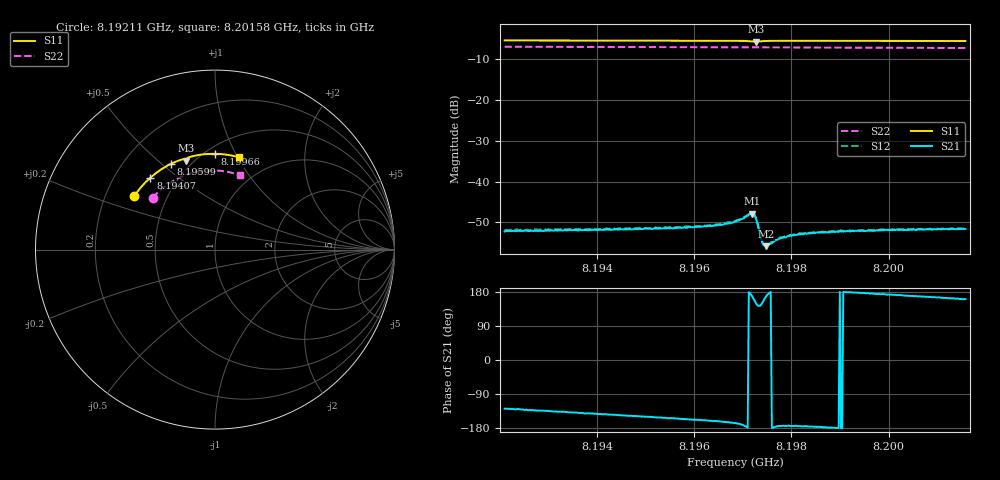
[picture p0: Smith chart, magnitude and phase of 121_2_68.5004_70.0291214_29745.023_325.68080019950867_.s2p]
#  HZ  S  RI  R  50.00
! Rohde & Schwarz Vector Network Analyzer
! Rohde-Schwarz,ZNB20-2Port,1311601062101988,3.16
! Created: UTC 3/20/2024, 4:53:58 PM
! freq[Hz]  re:S11  im:S11  re:S21  im:S21  re:S12  im:S12  re:S22  im:S22
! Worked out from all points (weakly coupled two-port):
!   401 points, 8.19211 GHz to 8.20158 GHz, reference 50 ohm
!   highest |S21| = -47.87 dB at 8.1972 GHz (marker M1); lowest = -55.8 dB at 8.19748 GHz (marker M2)
!   lowest |S11| = -5.7 dB at 8.19727 GHz (marker M3), VSWR 3.18, Z = 22.9 + j31.1 ohm
!   |S11| at or under -10 dB: nowhere
!   |S22| runs from -7.2 to -6.9 dB; largest |S21 - S12| = 0.00021
!   S11 on the Smith chart (normalised r, x): 8.19211 GHz: 0.32, +0.27; 8.19407 GHz: 0.35, +0.40; 8.19599 GHz: 0.40, +0.53; 8.19966 GHz: 0.56, +0.83; 8.20158 GHz: 0.71, +1.01
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8.192105e9  -0.4508 0.2972  -0.00152 -0.00191  -0.0016 -0.00196  -0.3475 0.2889
8.193692e9  -0.3793 0.3829  -0.00194 -0.00165  -0.00204 -0.00163  -0.2833 0.3492
8.194071e9  -0.3596 0.401  -0.00204 -0.00157  -0.00214 -0.00151  -0.2663 0.3617
8.195279e9  -0.2914 0.452  -0.00233 -0.00127  -0.00245 -0.00119  -0.2083 0.3961
8.19599e9  -0.2473 0.4768  -0.00255 -0.00104  -0.00266 -0.000973  -0.1719 0.4119
8.196558e9  -0.2098 0.4934  -0.0028 -0.000875  -0.00292 -0.000778  -0.1418 0.4223
8.196843e9  -0.1896 0.5005  -0.00315 -0.000752  -0.00322 -0.000645  -0.1263 0.4267
8.196985e9  -0.1784 0.5031  -0.00342 -0.000575  -0.00352 -0.000403  -0.1185 0.4286
8.197151e9  -0.1638 0.5023  -0.00398 0.00027  -0.00406 0.000436  -0.1094 0.4305
8.197198e9  -0.1607 0.4997  -0.00395 0.000865  -0.00399 0.00107  -0.107 0.431
8.197245e9  -0.1601 0.4967  -0.00356 0.00153  -0.00351 0.00171  -0.1043 0.4316
8.197269e9  -0.1609 0.4958  -0.00312 0.00175  -0.00309 0.00191  -0.1031 0.4317
8.197387e9  -0.1623 0.5025  -0.00162 0.00103  -0.00162 0.00108  -0.0968 0.4333
8.197435e9  -0.1598 0.5061  -0.00154 0.000611  -0.00152 0.000699  -0.0942 0.4338
8.197482e9  -0.1564 0.5087  -0.00158 0.000348  -0.00163 0.000405  -0.0915 0.4343
8.197719e9  -0.1384 0.5167  -0.00193 -0.000179  -0.00197 -6.93e-05  -0.0783 0.4365
8.197956e9  -0.121 0.5213  -0.00215 -0.000254  -0.00216 -0.000148  -0.0651 0.4384
8.19843e9  -0.0872 0.5278  -0.00234 -0.000179  -0.00238 -5.75e-05  -0.0384 0.4407
8.198975e9  -0.0485 0.5322  -0.00241 -3.66e-05  -0.00251 9.63e-05  -0.00757 0.4413
8.199661e9  0.000144 0.5337  -0.00247 0.000207  -0.00252 0.000293  0.0313 0.4388
8.200017e9  0.0255 0.5327  -0.00255 0.000343  -0.00254 0.000424  0.0514 0.4364
8.20158e9  0.1342 0.5142  -0.00248 0.000873  -0.00249 0.00098  0.1374 0.4141
